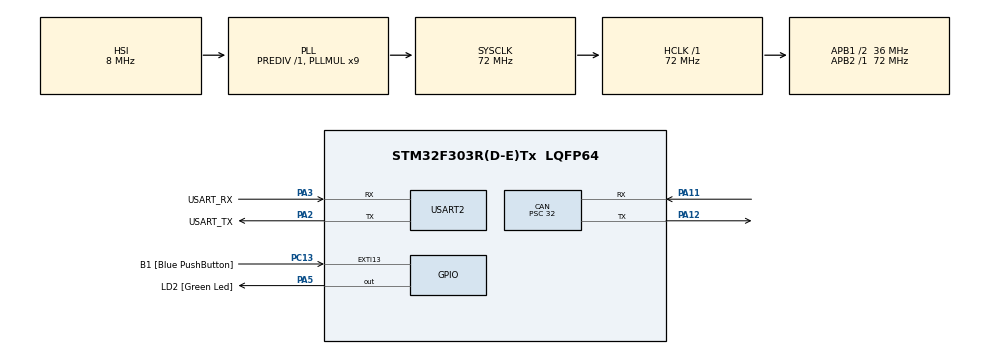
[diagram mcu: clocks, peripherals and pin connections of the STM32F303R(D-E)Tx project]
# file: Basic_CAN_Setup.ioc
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Mcu.Family=STM32F3
PA2.GPIO_PuPd=GPIO_NOPULL
RCC.CortexFreq_Value=72000000
PA14.GPIO_Label=TCK
RCC.SYSCLKSourceVirtual=RCC_SYSCLKSOURCE_PLLCLK
PA3.GPIO_PuPd=GPIO_NOPULL
PA2.GPIO_Speed=GPIO_SPEED_FREQ_LOW
PA11.Mode=CAN_Activate
PC13.GPIO_Label=B1 [Blue PushButton]
PA3.GPIO_Speed=GPIO_SPEED_FREQ_LOW
ProjectManager.StackSize=0x400
PA12.Signal=CAN_TX
CAN.Prescaler=32
RCC.HCLKFreq_Value=72000000
RCC.APB2TimFreq_Value=72000000
RCC.AHBFreq_Value=72000000
NVIC.EXTI15_10_IRQn=true\:0\:0\:false\:false\:true\:true\:true
RCC.HSE_VALUE=8000000
USART2.VirtualMode-Asynchronous=VM_ASYNC
RCC.RCC_PLLsource_Clock_Source_FROM_HSE=RCC_HSE_PREDIV_DIV2
RCC.PLLMUL=RCC_PLL_MUL9
PC14-OSC32_IN.Mode=LSE-External-Oscillator
PA14.Mode=Serial_Wire
PA5.GPIO_PuPd=GPIO_NOPULL
CAN.CalculateTimeQuantum=888.8888888888889
Mcu.Package=LQFP64
PA2.GPIO_Label=USART_TX
RCC.APB1TimFreq_Value=72000000
PF1-OSC_OUT.Signal=RCC_OSC_OUT
PA3.Signal=USART2_RX
PA2.GPIO_Mode=GPIO_MODE_AF_PP
PB3.GPIO_Label=SWO
PC15-OSC32_OUT.Mode=LSE-External-Oscillator
CAN.CalculateBaudRate=125000
PC13.Signal=GPXTI13
NVIC.USB_LP_CAN_RX0_IRQn=true\:0\:0\:false\:false\:true\:true\:true
RCC.APB1CLKDivider=RCC_HCLK_DIV2
PC14-OSC32_IN.Signal=RCC_OSC32_IN
CAN.CalculateTimeBit=7999.99
PA13.Signal=SYS_JTMS-SWDIO
PA3.Mode=Asynchronous
CAN.BS2=CAN_BS2_4TQ
CAN.BS1=CAN_BS1_4TQ
ProjectManager.TargetToolchain=STM32CubeIDE
PA3.GPIO_Mode=GPIO_MODE_AF_PP
RCC.USBFreq_Value=72000000
PC15-OSC32_OUT.Signal=RCC_OSC32_OUT
PF0-OSC_IN.Mode=HSE-External-Clock-Source
PA5.Signal=GPIO_Output
board=NUCLEO-F303RE
RCC.APB2Freq_Value=72000000
PA13.Mode=Serial_Wire
Mcu.Name=STM32F303R(D-E)Tx
PA13.GPIO_Label=TMS
PA2.Signal=USART2_TX
PB3.Signal=SYS_JTDO-TRACESWO
RCC.SYSCLKFreq_VALUE=72000000
PA12.Mode=CAN_Activate
PA5.GPIO_Label=LD2 [Green Led]
PC13.GPIO_ModeDefaultEXTI=GPIO_MODE_IT_FALLING
PA11.Signal=CAN_RX
PA14.Signal=SYS_JTCK-SWCLK
ProjectManager.HeapSize=0x200
RCC.HSI_VALUE=8000000
RCC.PLLP=RCC_PLLP_DIV4
PA5.GPIO_Speed=GPIO_SPEED_FREQ_LOW
RCC.PLLQ=7
NVIC.PriorityGroup=NVIC_PRIORITYGROUP_0
RCC.PLLM=8
RCC.PLLN=336
PA2.Mode=Asynchronous
PF0-OSC_IN.Signal=RCC_OSC_IN
RCC.APB1Freq_Value=36000000
PA5.GPIO_Mode=GPIO_MODE_OUTPUT_PP
PA3.GPIO_Label=USART_RX

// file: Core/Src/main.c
/* USER CODE BEGIN Header */
/**
  ******************************************************************************
  * @file           : main.c
  * @brief          : Main program body
  ******************************************************************************
  * @attention
  *
  * <h2><center>&copy; Copyright (c) 2021 STMicroelectronics.
  * All rights reserved.</center></h2>
  *
  * This software component is licensed by ST under BSD 3-Clause license,
  * the "License"; You may not use this file except in compliance with the
  * License. You may obtain a copy of the License at:
  *                        opensource.org/licenses/BSD-3-Clause
  *
  ******************************************************************************
  */
/* USER CODE END Header */
#include "main.h"

/* USER CODE BEGIN PD */
#define		ID					0x0103		// Supervisory Controller CAN ID
#define		TO_FLOOR_1			0x05		// Floor 1
#define 	TO_FLOOR_2			0x06		// Floor 2
#define		TO_FLOOR_3			0x07		// Floor 3
#define		NO_BTN_PRESS		0			// Default value of button flag (nothing pressed)
#define 	BLUE_BTN_PRESS		1			// Value of button flag when the blue button is pressed - TODO: Add more buttons
/* USER CODE END PD */

CAN_HandleTypeDef hcan;

UART_HandleTypeDef huart2;

/* USER CODE BEGIN PV */
CAN_TxHeaderTypeDef TxHeader;    // Defined in stm32xx_hal_can.h
CAN_RxHeaderTypeDef RxHeader;
uint8_t TxData[8];
uint8_t RxData[8];
uint32_t TxMailbox;

uint8_t msg = TO_FLOOR_1;
uint8_t BUTTON = NO_BTN_PRESS;		// Value changed in callback for the interrupt
/* USER CODE END PV */

void SystemClock_Config(void);
static void MX_GPIO_Init(void);
static void MX_USART2_UART_Init(void);
static void MX_CAN_Init(void);

int main(void)
{
  /* USER CODE BEGIN 1 */
	// CAN_BTR_LBKM = ENABLE;

  /* USER CODE END 1 */

  /* MCU Configuration--------------------------------------------------------*/

  /* Reset of all peripherals, Initializes the Flash interface and the Systick. */
  HAL_Init();

  /* Configure the system clock */
  SystemClock_Config();

  /* Initialize all configured peripherals */
  MX_GPIO_Init();
  MX_USART2_UART_Init();
  MX_CAN_Init();

  /* Infinite loop */
  while (1)
  {

    /* USER CODE BEGIN 3 */
	  uint8_t i;

	  // Receive
	  if (RxData[0] == TO_FLOOR_1)
	  {
		  HAL_GPIO_TogglePin(GPIOA, GPIO_PIN_5);	// Turn on LED2
		  HAL_Delay(2000);							// Keep LED on for 2 seconds
		  for (i = 0; i < sizeof(RxData); i++)		// Reset the RxData buffer (used a
		  {
			  RxData[i] = 0x00;
		  }
		  HAL_GPIO_TogglePin(GPIOA, GPIO_PIN_5);	// Turn off LED2
		  HAL_Delay(100);							// Need a delay after toggle
	  }

	  // Transmit
	  if (BUTTON != 0)
	  {
		  if (BUTTON == BLUE_BTN_PRESS)					// Blue Button: turn on LED2 for 2 seconds and Transmit message
		  {
			  HAL_GPIO_TogglePin(GPIOA, GPIO_PIN_5);
			  HAL_Delay(2000);
			  TxData[0] = msg;							// Store the message to transmit into the TxData buffer and send over the CAN bus
			  if (HAL_CAN_AddTxMessage(&hcan, &TxHeader, TxData, &TxMailbox) != HAL_OK)		// Transmit
			  {
				  Error_Handler();						// Transmit error
			  }
			  HAL_GPIO_TogglePin(GPIOA, GPIO_PIN_5);
			  BUTTON = NO_BTN_PRESS;					// Reset BUTTON flag
		  }
	  }
  }
  /* USER CODE END 3 */
}

void SystemClock_Config(void)
{
  RCC_OscInitTypeDef RCC_OscInitStruct = {0};
  RCC_ClkInitTypeDef RCC_ClkInitStruct = {0};
  RCC_PeriphCLKInitTypeDef PeriphClkInit = {0};

  /** Initializes the RCC Oscillators according to the specified parameters
  * in the RCC_OscInitTypeDef structure.
  */
  RCC_OscInitStruct.OscillatorType = RCC_OSCILLATORTYPE_HSI;
  RCC_OscInitStruct.HSIState = RCC_HSI_ON;
  RCC_OscInitStruct.HSICalibrationValue = RCC_HSICALIBRATION_DEFAULT;
  RCC_OscInitStruct.PLL.PLLState = RCC_PLL_ON;
  RCC_OscInitStruct.PLL.PLLSource = RCC_PLLSOURCE_HSI;
  RCC_OscInitStruct.PLL.PLLMUL = RCC_PLL_MUL9;
  RCC_OscInitStruct.PLL.PREDIV = RCC_PREDIV_DIV1;
  if (HAL_RCC_OscConfig(&RCC_OscInitStruct) != HAL_OK)
  {
    Error_Handler();
  }
  /** Initializes the CPU, AHB and APB buses clocks
  */
  RCC_ClkInitStruct.ClockType = RCC_CLOCKTYPE_HCLK|RCC_CLOCKTYPE_SYSCLK
                              |RCC_CLOCKTYPE_PCLK1|RCC_CLOCKTYPE_PCLK2;
  RCC_ClkInitStruct.SYSCLKSource = RCC_SYSCLKSOURCE_PLLCLK;
  RCC_ClkInitStruct.AHBCLKDivider = RCC_SYSCLK_DIV1;
  RCC_ClkInitStruct.APB1CLKDivider = RCC_HCLK_DIV2;
  RCC_ClkInitStruct.APB2CLKDivider = RCC_HCLK_DIV1;

  if (HAL_RCC_ClockConfig(&RCC_ClkInitStruct, FLASH_LATENCY_2) != HAL_OK)
  {
    Error_Handler();
  }
  PeriphClkInit.PeriphClockSelection = RCC_PERIPHCLK_USART2;
  PeriphClkInit.Usart2ClockSelection = RCC_USART2CLKSOURCE_PCLK1;
  if (HAL_RCCEx_PeriphCLKConfig(&PeriphClkInit) != HAL_OK)
  {
    Error_Handler();
  }
}

static void MX_CAN_Init(void)
{

  hcan.Instance = CAN;
  hcan.Init.Prescaler = 32;
  hcan.Init.Mode = CAN_MODE_LOOPBACK;
  hcan.Init.SyncJumpWidth = CAN_SJW_1TQ;
  hcan.Init.TimeSeg1 = CAN_BS1_4TQ;
  hcan.Init.TimeSeg2 = CAN_BS2_4TQ;
  hcan.Init.TimeTriggeredMode = DISABLE;
  hcan.Init.AutoBusOff = DISABLE;
  hcan.Init.AutoWakeUp = DISABLE;
  hcan.Init.AutoRetransmission = DISABLE;
  hcan.Init.ReceiveFifoLocked = DISABLE;
  hcan.Init.TransmitFifoPriority = DISABLE;
  if (HAL_CAN_Init(&hcan) != HAL_OK)
  {
    Error_Handler();
  }
  /* USER CODE BEGIN CAN_Init 2 */
  // hcan.Init.Mode = CAN_MODE_LOOPBACK;

  CAN_FilterTypeDef filter;				// 1 of 13 filters (can make more)

  // Set up as filter 0 (direct to FIFO0)
  filter.FilterBank = 0;							// Filter 0
  filter.FilterIdHigh = 0x0100 << 5;				// Choose an ID and shift by 5 to align with the filter register
  filter.FilterIdLow = 0x0000;						// Don't care
  filter.FilterMaskIdHigh = 0xFFC << 5;				// See lecture (range of IDs between 0x100 and 0x103) - also shift to align
  filter.FilterMaskIdLow = 0x0000;					// Don't care
  filter.FilterFIFOAssignment = CAN_FILTER_FIFO0;
  filter.FilterMode = CAN_FILTERMODE_IDMASK;		// Uses mask mode (can set range of IDs)
  filter.FilterScale = CAN_FILTERSCALE_32BIT;		// Use 32 bit filters
  filter.FilterActivation = ENABLE;					// Turn on filter (off by default)
  filter.SlaveStartFilterBank = 0;

  if (HAL_CAN_ConfigFilter(&hcan, &filter) != HAL_OK)    // Set the filter
  {
	  Error_Handler();
  }

  if (HAL_CAN_Start(&hcan) != HAL_OK)    // Start CAN interface
  {
	  Error_Handler();
  }

  if (HAL_CAN_ActivateNotification(&hcan, CAN_IT_RX_FIFO0_MSG_PENDING) != HAL_OK)    // Activate CAN Rx interrupt
  {
	  Error_Handler();
  }

  // Prep header fields for STD mode CAN Transmission
  TxHeader.IDE = CAN_ID_STD;				// Using STD mode (Extended: CAN_ID_EXT)
  TxHeader.ExtId = 0x00;					// Extended ID not used
  TxHeader.StdId = ID;						// STD mode ID is 0x100 - TODO: Change later
  TxHeader.RTR = CAN_RTR_DATA;				// Send data frame, not an RTR
  TxHeader.DLC = 1;							// Data length code = 1 (only sending one byte)
  TxHeader.TransmitGlobalTime = DISABLE;
  /* USER CODE END CAN_Init 2 */

}

static void MX_USART2_UART_Init(void)
{

  huart2.Instance = USART2;
  huart2.Init.BaudRate = 38400;
  huart2.Init.WordLength = UART_WORDLENGTH_8B;
  huart2.Init.StopBits = UART_STOPBITS_1;
  huart2.Init.Parity = UART_PARITY_NONE;
  huart2.Init.Mode = UART_MODE_TX_RX;
  huart2.Init.HwFlowCtl = UART_HWCONTROL_NONE;
  huart2.Init.OverSampling = UART_OVERSAMPLING_16;
  huart2.Init.OneBitSampling = UART_ONE_BIT_SAMPLE_DISABLE;
  huart2.AdvancedInit.AdvFeatureInit = UART_ADVFEATURE_NO_INIT;
  if (HAL_UART_Init(&huart2) != HAL_OK)
  {
    Error_Handler();
  }

}

static void MX_GPIO_Init(void)
{
  GPIO_InitTypeDef GPIO_InitStruct = {0};

  /* GPIO Ports Clock Enable */
  __HAL_RCC_GPIOC_CLK_ENABLE();
  __HAL_RCC_GPIOF_CLK_ENABLE();
  __HAL_RCC_GPIOA_CLK_ENABLE();
  __HAL_RCC_GPIOB_CLK_ENABLE();

  /*Configure GPIO pin Output Level */
  HAL_GPIO_WritePin(LD2_GPIO_Port, LD2_Pin, GPIO_PIN_RESET);

  /*Configure GPIO pin : B1_Pin */
  GPIO_InitStruct.Pin = B1_Pin;
  GPIO_InitStruct.Mode = GPIO_MODE_IT_FALLING;
  GPIO_InitStruct.Pull = GPIO_NOPULL;
  HAL_GPIO_Init(B1_GPIO_Port, &GPIO_InitStruct);

  /*Configure GPIO pin : LD2_Pin */
  GPIO_InitStruct.Pin = LD2_Pin;
  GPIO_InitStruct.Mode = GPIO_MODE_OUTPUT_PP;
  GPIO_InitStruct.Pull = GPIO_NOPULL;
  GPIO_InitStruct.Speed = GPIO_SPEED_FREQ_LOW;
  HAL_GPIO_Init(LD2_GPIO_Port, &GPIO_InitStruct);

  /* EXTI interrupt init*/
  HAL_NVIC_SetPriority(EXTI15_10_IRQn, 0, 0);
  HAL_NVIC_EnableIRQ(EXTI15_10_IRQn);

}

/* USER CODE BEGIN 4 */
// Override HAL_CAN_Fifo0MsgPendingCallback()
// 	Called when interrupt for FIFO0 is triggered
void HAL_CAN_RxFifo0MsgPendingCallback(CAN_HandleTypeDef *hcan)
{
	// Get Rx message and store to RxData[] buffer
	if (HAL_CAN_GetRxMessage(hcan, CAN_RX_FIFO0, &RxHeader, RxData) != HAL_OK)
	{
		Error_Handler();    // Reception error
	}
}

// Override HAL_GPIO Callback
void HAL_GPIO_EXTI_Callback(uint16_t GPIO_Pin)
{
	// Set BUTTON flag to show what button was pressed
	if (GPIO_Pin == GPIO_PIN_13)    // Blue Button
	{
		BUTTON = BLUE_BTN_PRESS;
	}
}
/* USER CODE END 4 */

void Error_Handler(void)
{
  __disable_irq();
  while (1)
  {
  }
}

/************************ (C) COPYRIGHT STMicroelectronics *****END OF FILE****/
